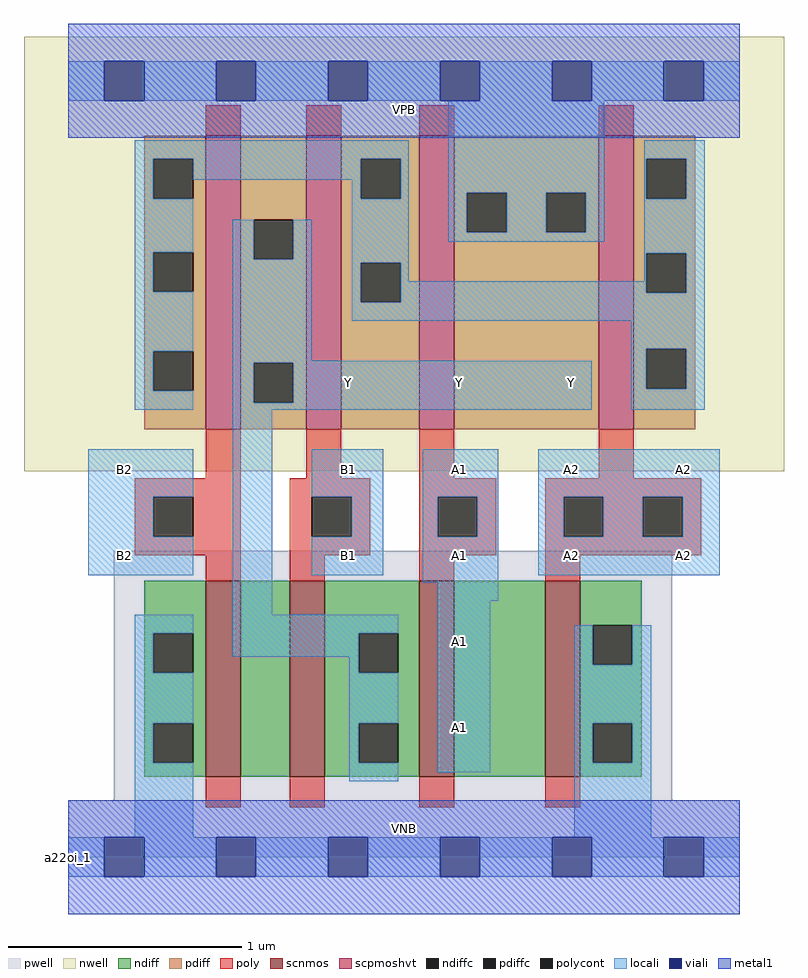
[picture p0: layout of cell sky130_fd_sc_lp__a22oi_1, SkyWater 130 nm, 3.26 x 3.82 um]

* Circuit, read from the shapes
.subckt sky130_fd_sc_lp__a22oi_1 A1 A2 B1 B2 VGND VNB VPB VPWR Y
XM1 n1 B2 VGND VNB sky130_fd_pr__nfet_01v8 w=0.84 l=0.15
XM2 Y B1 n1 VNB sky130_fd_pr__nfet_01v8 w=0.84 l=0.15
XM3 n2 A1 Y VNB sky130_fd_pr__nfet_01v8 w=0.84 l=0.15
XM4 VGND A2 n2 VNB sky130_fd_pr__nfet_01v8 w=0.84 l=0.15
XM5 Y B2 n3 VPB sky130_fd_pr__pfet_01v8_hvt w=1.26 l=0.15
XM6 n3 B1 Y VPB sky130_fd_pr__pfet_01v8_hvt w=1.26 l=0.15
XM7 VPWR A1 n3 VPB sky130_fd_pr__pfet_01v8_hvt w=1.26 l=0.15
XM8 n3 A2 VPWR VPB sky130_fd_pr__pfet_01v8_hvt w=1.26 l=0.15
.ends

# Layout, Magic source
magic
tech sky130A
magscale 1 2
<< nwell >>
rect -38 331 614 704
<< pwell >>
rect 39 49 518 263
rect 0 0 576 49
<< scnmos >>
rect 118 69 148 237
rect 190 69 220 237
rect 301 69 331 237
rect 409 69 439 237
<< scpmoshvt >>
rect 118 367 148 619
rect 204 367 234 619
rect 301 367 331 619
rect 455 367 485 619
<< ndiff >>
rect 65 192 118 237
rect 65 158 73 192
rect 107 158 118 192
rect 65 115 118 158
rect 65 81 73 115
rect 107 81 118 115
rect 65 69 118 81
rect 148 69 190 237
rect 220 192 301 237
rect 220 158 249 192
rect 283 158 301 192
rect 220 115 301 158
rect 220 81 249 115
rect 283 81 301 115
rect 220 69 301 81
rect 331 69 409 237
rect 439 199 492 237
rect 439 165 450 199
rect 484 165 492 199
rect 439 115 492 165
rect 439 81 450 115
rect 484 81 492 115
rect 439 69 492 81
<< pdiff >>
rect 65 599 118 619
rect 65 565 73 599
rect 107 565 118 599
rect 65 519 118 565
rect 65 485 73 519
rect 107 485 118 519
rect 65 434 118 485
rect 65 400 73 434
rect 107 400 118 434
rect 65 367 118 400
rect 148 547 204 619
rect 148 513 159 547
rect 193 513 204 547
rect 148 424 204 513
rect 148 390 159 424
rect 193 390 204 424
rect 148 367 204 390
rect 234 599 301 619
rect 234 565 251 599
rect 285 565 301 599
rect 234 510 301 565
rect 234 476 251 510
rect 285 476 301 510
rect 234 367 301 476
rect 331 570 455 619
rect 331 536 342 570
rect 376 536 410 570
rect 444 536 455 570
rect 331 367 455 536
rect 485 599 538 619
rect 485 565 496 599
rect 530 565 538 599
rect 485 518 538 565
rect 485 484 496 518
rect 530 484 538 518
rect 485 436 538 484
rect 485 402 496 436
rect 530 402 538 436
rect 485 367 538 402
<< ndiffc >>
rect 73 158 107 192
rect 73 81 107 115
rect 249 158 283 192
rect 249 81 283 115
rect 450 165 484 199
rect 450 81 484 115
<< pdiffc >>
rect 73 565 107 599
rect 73 485 107 519
rect 73 400 107 434
rect 159 513 193 547
rect 159 390 193 424
rect 251 565 285 599
rect 251 476 285 510
rect 342 536 376 570
rect 410 536 444 570
rect 496 565 530 599
rect 496 484 530 518
rect 496 402 530 436
<< poly >>
rect 118 619 148 645
rect 204 619 234 645
rect 301 619 331 645
rect 455 619 485 645
rect 118 325 148 367
rect 204 325 234 367
rect 301 325 331 367
rect 455 325 485 367
rect 57 309 148 325
rect 57 275 73 309
rect 107 275 148 309
rect 57 259 148 275
rect 118 237 148 259
rect 190 309 259 325
rect 190 275 209 309
rect 243 275 259 309
rect 190 259 259 275
rect 301 309 367 325
rect 301 275 317 309
rect 351 275 367 309
rect 301 259 367 275
rect 409 309 543 325
rect 409 275 425 309
rect 459 275 493 309
rect 527 275 543 309
rect 409 259 543 275
rect 190 237 220 259
rect 301 237 331 259
rect 409 237 439 259
rect 118 43 148 69
rect 190 43 220 69
rect 301 43 331 69
rect 409 43 439 69
<< polycont >>
rect 73 275 107 309
rect 209 275 243 309
rect 317 275 351 309
rect 425 275 459 309
rect 493 275 527 309
<< locali >>
rect 0 649 31 683
rect 65 649 127 683
rect 161 649 223 683
rect 257 649 319 683
rect 353 649 415 683
rect 449 649 511 683
rect 545 649 576 683
rect 57 599 292 615
rect 57 565 73 599
rect 107 581 251 599
rect 57 519 107 565
rect 243 565 251 581
rect 285 565 292 599
rect 57 485 73 519
rect 57 434 107 485
rect 57 400 73 434
rect 57 384 107 400
rect 141 513 159 547
rect 193 513 209 547
rect 141 426 209 513
rect 243 510 292 565
rect 326 570 460 649
rect 326 536 342 570
rect 376 536 410 570
rect 444 536 460 570
rect 326 528 460 536
rect 494 599 546 615
rect 494 565 496 599
rect 530 565 546 599
rect 243 476 251 510
rect 285 494 292 510
rect 494 518 546 565
rect 494 494 496 518
rect 285 484 496 494
rect 530 484 546 518
rect 285 476 546 484
rect 243 460 546 476
rect 483 436 546 460
rect 141 424 449 426
rect 141 390 159 424
rect 193 390 449 424
rect 141 384 449 390
rect 483 402 496 436
rect 530 402 546 436
rect 483 384 546 402
rect 17 309 107 350
rect 17 275 73 309
rect 17 242 107 275
rect 141 208 175 384
rect 209 309 270 350
rect 243 275 270 309
rect 209 242 270 275
rect 304 309 369 350
rect 304 275 317 309
rect 351 275 369 309
rect 304 236 369 275
rect 403 309 559 350
rect 403 275 425 309
rect 459 275 493 309
rect 527 275 559 309
rect 403 242 559 275
rect 317 220 369 236
rect 57 192 107 208
rect 57 158 73 192
rect 141 192 283 208
rect 141 172 249 192
rect 57 115 107 158
rect 57 81 73 115
rect 57 17 107 81
rect 241 158 249 172
rect 241 115 283 158
rect 241 81 249 115
rect 241 65 283 81
rect 317 73 362 220
rect 434 165 450 199
rect 484 165 500 199
rect 434 115 500 165
rect 434 81 450 115
rect 484 81 500 115
rect 434 17 500 81
rect 0 -17 31 17
rect 65 -17 127 17
rect 161 -17 223 17
rect 257 -17 319 17
rect 353 -17 415 17
rect 449 -17 511 17
rect 545 -17 576 17
<< viali >>
rect 31 649 65 683
rect 127 649 161 683
rect 223 649 257 683
rect 319 649 353 683
rect 415 649 449 683
rect 511 649 545 683
rect 31 -17 65 17
rect 127 -17 161 17
rect 223 -17 257 17
rect 319 -17 353 17
rect 415 -17 449 17
rect 511 -17 545 17
<< metal1 >>
rect 0 683 576 715
rect 0 649 31 683
rect 65 649 127 683
rect 161 649 223 683
rect 257 649 319 683
rect 353 649 415 683
rect 449 649 511 683
rect 545 649 576 683
rect 0 617 576 649
rect 0 17 576 49
rect 0 -17 31 17
rect 65 -17 127 17
rect 161 -17 223 17
rect 257 -17 319 17
rect 353 -17 415 17
rect 449 -17 511 17
rect 545 -17 576 17
rect 0 -49 576 -17
<< labels >>
flabel pwell s 0 0 576 49 0 FreeSans 200 0 0 0 VNB
port 6 nsew ground bidirectional
flabel nwell s 0 617 576 666 0 FreeSans 200 0 0 0 VPB
port 7 nsew power bidirectional
rlabel comment s 0 0 0 0 4 a22oi_1
flabel metal1 s 0 617 576 666 0 FreeSans 340 0 0 0 VPWR
port 8 nsew power bidirectional
flabel metal1 s 0 0 576 49 0 FreeSans 340 0 0 0 VGND
port 5 nsew ground bidirectional
flabel locali s 319 94 353 128 0 FreeSans 340 0 0 0 A1
port 1 nsew signal input
flabel locali s 319 168 353 202 0 FreeSans 340 0 0 0 A1
port 1 nsew signal input
flabel locali s 319 242 353 276 0 FreeSans 340 0 0 0 A1
port 1 nsew signal input
flabel locali s 319 316 353 350 0 FreeSans 340 0 0 0 A1
port 1 nsew signal input
flabel locali s 415 316 449 350 0 FreeSans 340 0 0 0 A2
port 2 nsew signal input
flabel locali s 223 390 257 424 0 FreeSans 340 0 0 0 Y
port 9 nsew signal output
flabel locali s 319 390 353 424 0 FreeSans 340 0 0 0 Y
port 9 nsew signal output
flabel locali s 415 390 449 424 0 FreeSans 340 0 0 0 Y
port 9 nsew signal output
flabel locali s 511 242 545 276 0 FreeSans 340 0 0 0 A2
port 2 nsew signal input
flabel locali s 511 316 545 350 0 FreeSans 340 0 0 0 A2
port 2 nsew signal input
flabel locali s 223 242 257 276 0 FreeSans 340 0 0 0 B1
port 3 nsew signal input
flabel locali s 223 316 257 350 0 FreeSans 340 0 0 0 B1
port 3 nsew signal input
flabel locali s 31 242 65 276 0 FreeSans 340 0 0 0 B2
port 4 nsew signal input
flabel locali s 31 316 65 350 0 FreeSans 340 0 0 0 B2
port 4 nsew signal input
flabel locali s 415 242 449 276 0 FreeSans 340 0 0 0 A2
port 2 nsew signal input
<< properties >>
string LEFsite unit
string LEFclass CORE
string FIXED_BBOX 0 0 576 666
string GDS_FILE $PDKPATH/libs.ref/sky130_fd_sc_lp/gds/sky130_fd_sc_lp.gds
string LEFsymmetry X Y R90
string GDS_END 444638
string GDS_START 438014
<< end >>
